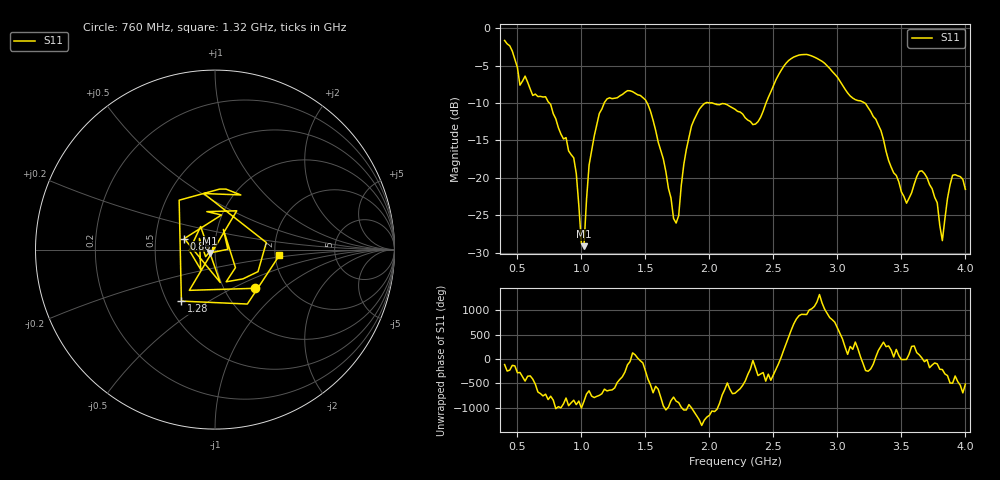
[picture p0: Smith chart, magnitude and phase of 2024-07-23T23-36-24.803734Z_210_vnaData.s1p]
!Created with skrf (http://scikit-rf.org).
# Hz S RI R 50.0
!freq ReS11 ImS11
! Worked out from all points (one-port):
!   181 points, 400 MHz to 4 GHz, reference 50 ohm
!   lowest |S11| = -29.1 dB at 1.02 GHz (marker M1), VSWR 1.07, Z = 47.1 - j1.78 ohm
!   |S11| at or under -10 dB: 749.4 MHz to 1.178 GHz (429 MHz wide, 44.5 % of centre); 1.514 GHz to 1.97 GHz (456.9 MHz wide, 26.2 % of centre); 3.213 GHz to end of sweep (the widest 3 of 4)
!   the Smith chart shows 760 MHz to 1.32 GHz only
!   S11 on the Smith chart (normalised r, x): 760 MHz: 1.39, -0.66; 860 MHz: 0.70, +0.09; 1.28 GHz: 0.59, -0.38; 1.32 GHz: 2.11, -0.15
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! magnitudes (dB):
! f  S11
! 400 MHz  -1.6
! 520 MHz  -7.6
! 760 MHz  -10.2
! 860 MHz  -14.8
! 940 MHz  -17.3
! 1 GHz  -28.7
! 1.02 GHz  -29.1
! 1.06 GHz  -18.3
! 1.1 GHz  -14.4
! 1.28 GHz  -9.3
! 1.3 GHz  -9.0
! 1.32 GHz  -8.9
! 1.52 GHz  -10.2
! 1.72 GHz  -25.4
! 1.76 GHz  -25.0
! 1.82 GHz  -16.2
! 1.92 GHz  -10.9
! 2.2 GHz  -10.8
! 2.36 GHz  -12.8
! 2.66 GHz  -3.9
! 3.1 GHz  -9.1
! 3.3 GHz  -12.2
! 3.56 GHz  -22.7
! 3.68 GHz  -19.4
! 3.78 GHz  -23.3
! 3.82 GHz  -28.4
! 3.9 GHz  -19.6
! 4 GHz  -21.5
